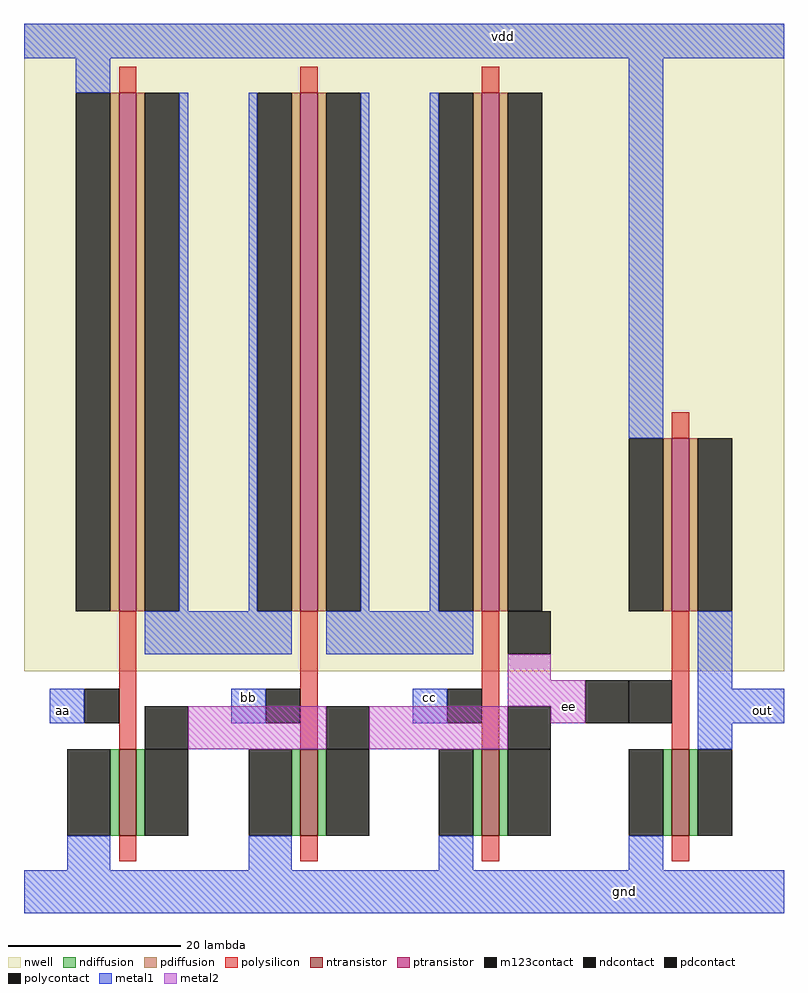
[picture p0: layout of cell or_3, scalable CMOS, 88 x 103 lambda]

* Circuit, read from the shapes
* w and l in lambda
.subckt or_3 aa bb cc ee gnd out vdd
M1 ee aa gnd VSUBS nfet w=10 l=2
M2 ee bb gnd VSUBS nfet w=10 l=2
M3 ee cc gnd VSUBS nfet w=10 l=2
M4 out ee gnd VSUBS nfet w=10 l=2
M5 n1 aa vdd n2 pfet w=60 l=2
M6 n3 bb n1 n2 pfet w=60 l=2
M7 ee cc n3 n2 pfet w=60 l=2
M8 out ee vdd n2 pfet w=20 l=2
.ends

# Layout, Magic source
magic
tech scmos
<< nwell >>
rect -23 38 65 113
<< ntransistor >>
rect -12 19 -10 29
rect 9 19 11 29
rect 30 19 32 29
rect 52 19 54 29
<< ptransistor >>
rect -12 45 -10 105
rect 9 45 11 105
rect 30 45 32 105
rect 52 45 54 65
<< ndiffusion >>
rect -13 19 -12 29
rect -10 19 -9 29
rect 8 19 9 29
rect 11 19 12 29
rect 29 19 30 29
rect 32 19 33 29
rect 51 19 52 29
rect 54 19 55 29
<< pdiffusion >>
rect -13 45 -12 105
rect -10 45 -9 105
rect 8 45 9 105
rect 11 45 12 105
rect 29 45 30 105
rect 32 45 33 105
rect 51 45 52 65
rect 54 45 55 65
<< ndcontact >>
rect -18 19 -13 29
rect -9 19 -4 29
rect 3 19 8 29
rect 12 19 17 29
rect 25 19 29 29
rect 33 19 38 29
rect 47 19 51 29
rect 55 19 59 29
<< pdcontact >>
rect -17 45 -13 105
rect -9 45 -5 105
rect 4 45 8 105
rect 12 45 16 105
rect 25 45 29 105
rect 33 45 37 105
rect 47 45 51 65
rect 55 45 59 65
<< polysilicon >>
rect -12 105 -10 108
rect 9 105 11 108
rect 30 105 32 108
rect 52 65 54 68
rect -12 29 -10 45
rect 9 29 11 45
rect 30 29 32 45
rect 52 29 54 45
rect -12 16 -10 19
rect 9 16 11 19
rect 30 16 32 19
rect 52 16 54 19
<< polycontact >>
rect -16 32 -12 36
rect 5 32 9 36
rect 26 32 30 36
rect 47 32 52 37
<< metal1 >>
rect -23 109 65 113
rect -17 105 -13 109
rect -5 45 -4 105
rect 3 45 4 105
rect -9 40 8 45
rect 16 45 17 105
rect 24 45 25 105
rect 12 40 29 45
rect 47 65 51 109
rect -20 32 -16 36
rect 1 32 5 36
rect 22 32 26 36
rect 55 36 59 45
rect 55 32 65 36
rect 55 29 59 32
rect -18 15 -13 19
rect 3 15 8 19
rect 25 15 29 19
rect 47 15 51 19
rect -23 10 65 15
<< metal2 >>
rect 33 37 38 40
rect 33 34 42 37
rect -4 29 12 34
rect 17 29 33 34
rect 38 32 42 34
<< m123contact >>
rect 33 40 38 45
rect -9 29 -4 34
rect 12 29 17 34
rect 33 29 38 34
rect 42 32 47 37
<< labels >>
rlabel metal1 62 33 63 34 7 out
rlabel metal1 46 12 47 13 1 gnd
rlabel metal1 -19 33 -18 34 3 aa
rlabel metal1 24 35 24 35 1 cc
rlabel metal2 40 34 40 34 1 ee
rlabel metal1 32 111 33 112 5 vdd
rlabel metal1 3 35 3 35 1 bb
<< end >>
